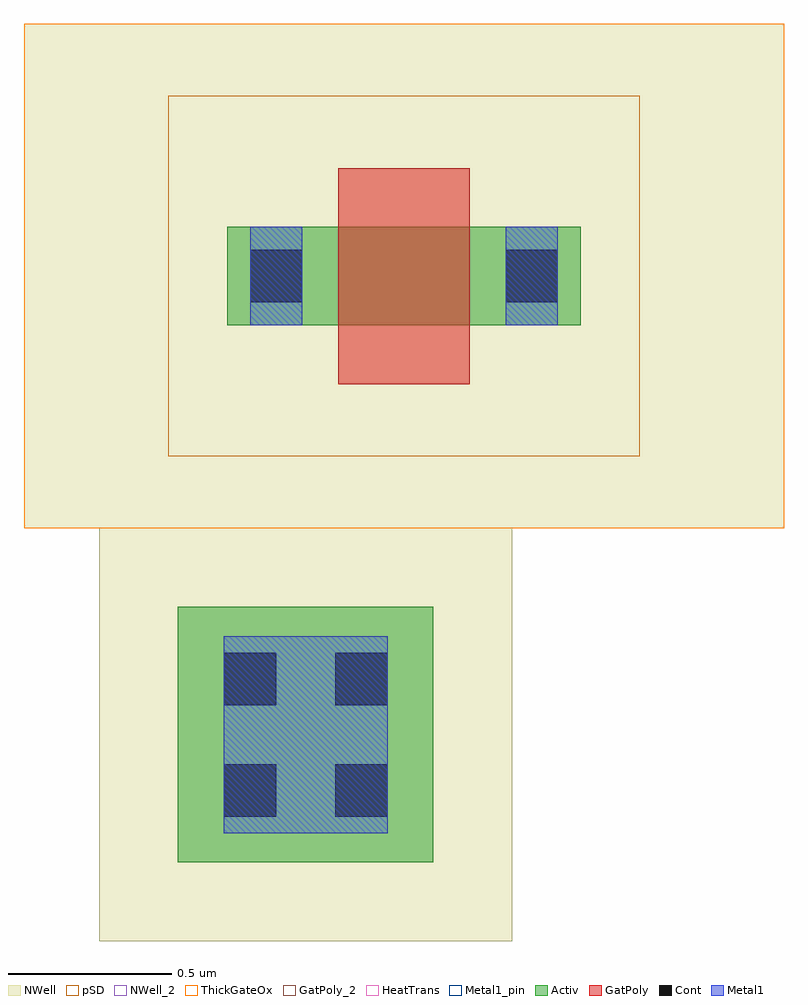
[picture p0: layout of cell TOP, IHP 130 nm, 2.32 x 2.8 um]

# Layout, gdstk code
import gdstk
lib = gdstk.Library(unit=1e-6, precision=1e-09)
def R(c, l, rs):  # rectangles x0, y0, x1, y1
    for r in rs: c.add(gdstk.rectangle(r[:2], r[2:], *l))
Activ = (1, 0)
GatPoly = (5, 0)
GatPoly_2 = (5, 2)
Cont = (6, 0)
Metal1 = (8, 0)
Metal1_pin = (8, 2)
pSD = (14, 0)
NWell = (31, 0)
NWell_2 = (31, 2)
ThickGateOx = (44, 0)
HeatTrans = (51, 0)

pmoshv = lib.new_cell('pmosHV')
R(pmoshv, Activ, [(0,0,0.3,0.3), (0,0,1.08,0.3), (0.78,0,1.08,0.3)])
R(pmoshv, GatPoly, [(0.34,-0.18,0.74,0.48)])
R(pmoshv, GatPoly_2, [(0.34,-0.18,0.74,0.48)])
R(pmoshv, Cont, [(0.07,0.07,0.23,0.23), (0.85,0.07,1.01,0.23)])
R(pmoshv, Metal1, [(0.07,0,0.23,0.3), (0.85,0,1.01,0.3)])
R(pmoshv, Metal1_pin, [(0.07,0,0.23,0.3), (0.85,0,1.01,0.3)])
R(pmoshv, pSD, [(-0.18,-0.4,1.26,0.7)])
R(pmoshv, NWell, [(-0.62,-0.62,1.7,0.92)])
R(pmoshv, ThickGateOx, [(-0.62,-0.62,1.7,0.92)])
R(pmoshv, HeatTrans, [(0.34,-0.18,0.74,0.48)])
pmoshv.add(gdstk.Label('pmosHV', (0.54,0.15), layer=63, texttype=0))
pmoshv.add(gdstk.Label('pmos', (0.54,0.15), layer=51, texttype=0))

ntap1 = lib.new_cell('ntap1')
R(ntap1, Activ, [(0,0,0.78,0.78)])
R(ntap1, Cont, [(0.14,0.14,0.3,0.3), (0.48,0.14,0.64,0.3), (0.14,0.48,0.3,0.64), (0.48,0.48,0.64,0.64)])
R(ntap1, Metal1, [(0.14,0.09,0.64,0.69)])
R(ntap1, Metal1_pin, [(0.14,0.09,0.64,0.69), (0.14,0.14,0.64,0.64)])
R(ntap1, NWell, [(-0.24,-0.24,1.02,1.02), (0,0,0.78,0.78)])
R(ntap1, NWell_2, [(0,0,0.78,0.78)])
ntap1.add(gdstk.Label('well', (0.39,0.01), layer=63, texttype=0))
ntap1.add(gdstk.Label('well', (0.39,0.01), layer=31, texttype=0))

top = lib.new_cell('TOP')
top.add(gdstk.Reference(pmoshv, (0.685,0.665)))
top.add(gdstk.Reference(ntap1, (0.535,-0.975)))

lib.write_gds('TOP.gds')
